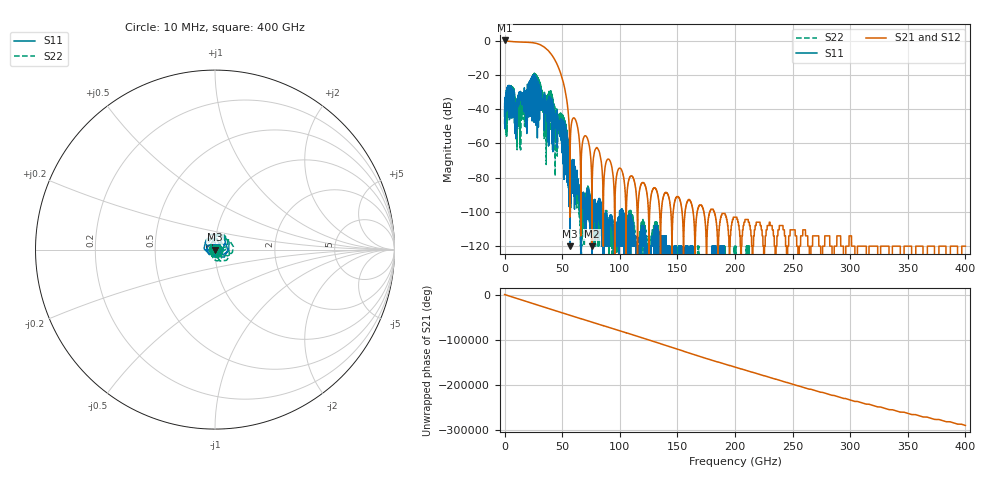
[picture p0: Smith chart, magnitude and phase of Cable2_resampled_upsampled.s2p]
# MHz MA S R 50.0
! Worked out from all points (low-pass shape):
!   40000 points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, 10 MHz to 400 GHz, reference 50 ohm
!   highest |S21| = 0.04 dB at 10 MHz (marker M1); lowest = -120.0 dB at 75.84 GHz (marker M2)
!   |S21| within 3 dB of the highest: start of sweep to 32.39 GHz
!   lowest |S11| = -120.0 dB at 56.74 GHz (marker M3), VSWR 1.00, Z = 50 - j6.34e-05 ohm
!   |S11| at or under -10 dB: start of sweep to end of sweep
!   |S22| runs from - to -19.0 dB; largest |S21 - S12| = 0.0026
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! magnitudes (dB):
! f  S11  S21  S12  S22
! 10 MHz  -44.2  0.0  0.0  -48.8
! 4.02 GHz  -40.5  -0.5  -0.5  -36.7
! 11.67 GHz  -32.0  -0.8  -0.8  -38.4
! 27.53 GHz  -39.9  -1.7  -1.7  -28.1
! 34.65 GHz  -33.3  -4.0  -3.9  -30.4
! 40 GHz  -43.0  -7.6  -7.6  -52.4
! 46.9 GHz  -51.3  -16.0  -16.0  -44.9
! 52.24 GHz  -63.5  -28.1  -28.1  -55.2
! 56.74 GHz  -120.0  -103.1  -103.1  -120.0
! 61.39 GHz  -81.4  -46.0  -46.0  -75.0
! 66.68 GHz  -97.1  -67.0  -67.0  -100.9
! 70.93 GHz  -106.0  -55.9  -55.9  -100.0
! 75.84 GHz  -  -120.0  -120.0  -
! 80.25 GHz  -100.9  -62.5  -62.5  -100.9
! 85.85 GHz  -  -91.4  -91.4  -120.0
! 90.12 GHz  -110.5  -69.2  -69.2  -108.0
! 95.72 GHz  -  -98.4  -98.4  -
! 133.3 GHz  -114.0  -91.4  -91.4  -114.0
! 200 GHz  -  -103.1  -103.1  -
! 266.7 GHz  -  -120.0  -120.0  -
! 333.3 GHz  -  -120.0  -120.0  -
! 400 GHz  -  -120.0  -120.0  -
